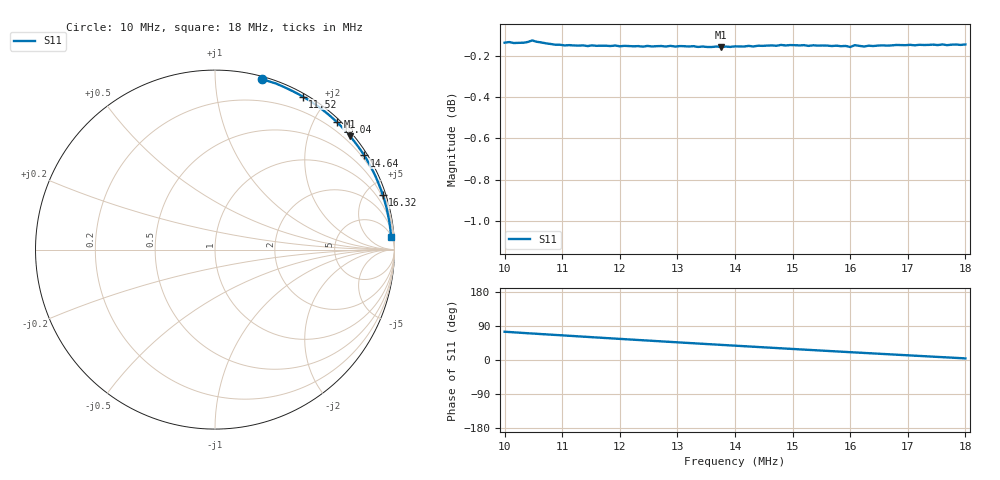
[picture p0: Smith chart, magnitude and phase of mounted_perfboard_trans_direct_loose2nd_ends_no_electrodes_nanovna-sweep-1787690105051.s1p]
! S11 from mounted_perfboard_trans_direct_loose2nd_ends_no_electrodes_nanovna-sweep-1787690105051.csv, converted by the rf-network-modeller history importer
# HZ S RI R 50
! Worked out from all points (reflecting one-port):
!   101 points, 10 MHz to 18 MHz, reference 50 ohm
!   lowest |S11| = -0.2 dB at 13.76 MHz (marker M1), VSWR 111.12, Z = 3.86 + j138 ohm
!   phase of S11 starts at 75 deg and turns -70 deg over the sweep
!   S11 on the Smith chart (normalised r, x): 10 MHz: 0.02, +1.31; 11.52 MHz: 0.03, +1.73; 13.04 MHz: 0.06, +2.34; 14.64 MHz: 0.11, +3.46; 16.32 MHz: 0.35, +6.29; 18 MHz: 6, +26
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1e7  0.2622 0.949
1.008e7  0.2747 0.9459
1.048e7  0.3387 0.9258
1.064e7  0.3631 0.9153
1.104e7  0.4208 0.8885
1.152e7  0.4888 0.853
1.176e7  0.5216 0.8331
1.2e7  0.5532 0.8121
1.248e7  0.6137 0.7677
1.272e7  0.6425 0.7437
1.304e7  0.6788 0.7106
1.328e7  0.7051 0.6844
1.368e7  0.7458 0.6396
1.376e7  0.7532 0.6303
1.4e7  0.7761 0.6026
1.424e7  0.798 0.5738
1.464e7  0.8315 0.5244
1.504e7  0.8617 0.4734
1.536e7  0.8832 0.432
1.56e7  0.898 0.3999
1.592e7  0.9156 0.3574
1.6e7  0.9196 0.3452
1.608e7  0.9241 0.3359
1.632e7  0.9348 0.3038
1.656e7  0.945 0.2711
1.704e7  0.9618 0.2054
1.76e7  0.9752 0.1283
1.8e7  0.9809 0.0729
